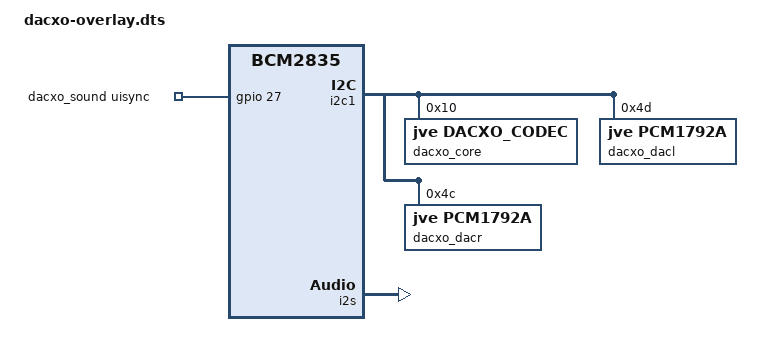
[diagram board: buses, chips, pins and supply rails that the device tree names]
// Definitions for Jos van Eijndhoven's DAC "dacxo"
// intended to be attached to a Raspberry Pi
// January 2016
//
// For info on dts files see:
// https://www.raspberrypi.com/documentation/computers/configuration.html#device-trees-overlays-and-parameters

/dts-v1/;
/plugin/;

/ {
	compatible = "brcm,bcm2835";


	/* --- I2C Devices --- */
	fragment@0 {
		target = <&i2c1>;
		__overlay__ {
			#address-cells = <1>;
			#size-cells = <0>;
			status = "okay";

			dacxo_core: dacxo_codec@10 {
				// property causes subnode as one of dai_link->num_codecs
				// and inclusion in the dai_link->codecs array.
				compatible = "jve,dacxo_codec";
				reg = <0x10>; // Is address of onboard fpga
        #sound-dai-cells = <0>;
				status = "okay";
			};

			dacxo_dacl: pcm1792a@4d {
				compatible = "jve,pcm1792a";  // my own i2c device
				reg = <0x4d>; // left audio channel
				status = "okay";
			};

			dacxo_dacr: pcm1792a@4c {
				compatible = "jve,pcm1792a";  // my own i2c device
				reg = <0x4c>; // right audio channel
				status = "okay";
			};
		};
	};

  /* --- GPIO Pins --- */
	fragment@1 {
    target = <&gpio>;
    __overlay__ {
      dacxo_pins: dacxo_pins {
        brcm,pins = <27>;     /* BCM GPIO number */
        brcm,function = <0>;  /* 0:in, 1:out, 2:alt5, etc. */
        brcm,pull = <2>;      /* 0:none, 1:down, 2:up */
      };
    };
  };

  /* --- The Sound Card --- */
	fragment@2 {
		target-path = "/"; /* Targeting root instead of &sound */
		// target = <&sound>;
		__overlay__ {
      dacxo_sound: dacxo_sound {
        compatible = "jve,dacxo_bcm";
        i2s-controller = <&i2s>;
  			status = "okay";

        jve,dacxo_codec = <&dacxo_core>;
  			jve,dac_l = <&dacxo_dacl>;
	  		jve,dac_r = <&dacxo_dacr>;

  			pinctrl-names = "default";
        pinctrl-0 = <&dacxo_pins>;
        // define 'uisync' as name to find in the driver
        // mode 22 = GPIO_OPEN_DRAIN | GPIO_PULL_UP
			  uisync-gpios = <&gpio 27 22>;

        simple-audio-card,cpu {
          sound-dai = <&i2s>;
        };

        simple-audio-card,codec {
          sound-dai = <&dacxo_core>;
        };
			};
		};
	};

  /* Explicitly enable I2S in a separate way that doesn't overlap the sound card */
  fragment@3 {
    target = <&i2s>;
    __overlay__ {
        status = "okay";
    };
  };

  /* --- Runtime Override to parameterize the uisync gpio pin number, default is 27 --- */
  __overrides__ {
    /* Syntax: name = <target_phandle>,"property_name:offset_in_bytes" */
    sync_pin = <&dacxo_pins>,"brcm,pins:0",
               <&dacxo_sound>,"uisync-gpios:4"; 
  };
};
